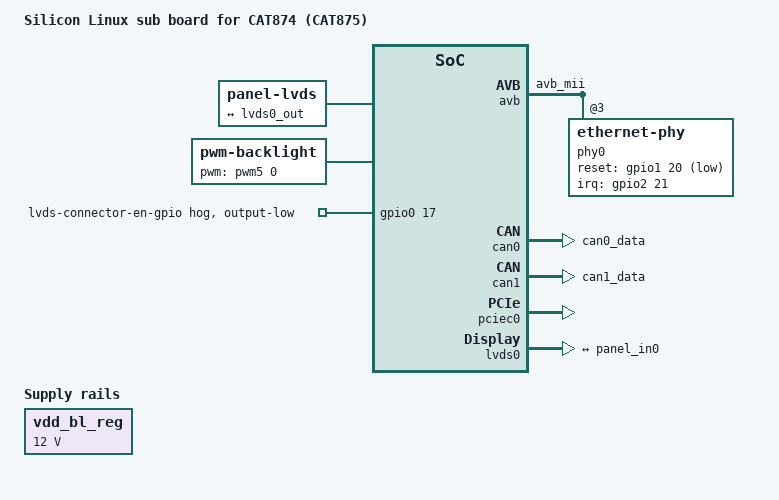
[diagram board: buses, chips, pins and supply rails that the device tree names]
// SPDX-License-Identifier: GPL-2.0
/*
 * Device Tree Source for the Silicon Linux sub board for CAT874 (CAT875)
 *
 * Copyright (C) 2019 Renesas Electronics Corp.
 */

/ {
	model = "Silicon Linux sub board for CAT874 (CAT875)";

	aliases {
		ethernet0 = &avb;
	};

	panel-lvds {
		compatible = "panel-lvds";

		width-mm = <476>;
		height-mm = <268>;

		data-mapping = "vesa-24";

		panel-timing {
                clock-frequency = <51000000>;
                hactive = <1024>;
                vactive = <600>;
                hback-porch = <150>;
                hfront-porch = <150>;
                vback-porch = <17>;
                vfront-porch = <17>;
                hsync-len = <20>;
                vsync-len = <15>;
                hsync-active = <0>;
                vsync-active = <0>;
                de-active = <0>;
                pixelclk-active = <0>;
		};

		ports {
			#address-cells = <1>;
			#size-cells = <0>;
			port@0 {
				reg = <0>;
				panel_in0: endpoint {
					remote-endpoint = <&lvds0_out>;
				};
			};
		};
	};

	vdd_bl_reg: bl-regulator {
		compatible = "regulator-fixed";
		regulator-name = "fixed-12V";
		regulator-min-microvolt = <12000000>;
		regulator-max-microvolt = <12000000>;
		regulator-boot-on;
		regulator-always-on;
	};

	backlight {
		compatible = "pwm-backlight";
		pwms = <&pwm5 0 5000000>;

		brightness-levels = <0 4 8 16 32 64 128 255>;
		default-brightness-level = <7>;
	};
};

&avb {
	pinctrl-0 = <&avb_pins>;
	pinctrl-names = "default";
	renesas,no-ether-link;
	phy-handle = <&phy0>;
	phy-mode = "rgmii";
	status = "okay";

	phy0: ethernet-phy@3 {
        rxc-skew-ps = <1500>;
		reg = <3>;
		interrupt-parent = <&gpio2>;
		interrupts = <21 IRQ_TYPE_LEVEL_LOW>;
		reset-gpios = <&gpio1 20 GPIO_ACTIVE_LOW>;
	};
};

&can0 {
	pinctrl-0 = <&can0_pins>;
	pinctrl-names = "default";
	renesas,can-clock-select = <0x0>;
	status = "okay";
};

&can1 {
	pinctrl-0 = <&can1_pins>;
	pinctrl-names = "default";
	renesas,can-clock-select = <0x0>;
	status = "okay";
};

&pciec0 {
	status = "okay";
};

&pfc {
	avb_pins: avb {
		mux {
			groups = "avb_mii";
			function = "avb";
		};
	};

	can0_pins: can0 {
		groups = "can0_data";
		function = "can0";
	};

	can1_pins: can1 {
		groups = "can1_data";
		function = "can1";
	};
};

&lvds0 {
	status = "okay";

	clocks = <&cpg CPG_MOD 727>, <&extal_clk>;
	clock-names = "fck", "extal";
	swap = <1>;

	ports {
		port@1 {
			lvds0_out: endpoint {
				remote-endpoint = <&panel_in0>;
			};
		};
	};
};

&lvds1 {
	status = "disable";
};

/* GP0_17 is used to select (SEL) output direction for LVDS-IF
 * SEL = L => To LVDS Connector
 * SEL = H => To MIPI-DSI
 *
 * Currently just support LVDS Connector so that set LOW for GP0_17
 */
&gpio0 {
	lvds-connector-en-gpio{
		gpio-hog;
		gpios = <17 GPIO_ACTIVE_HIGH>;
		output-low;
		line-name = "lvds-connector-en-gpio";
	};
};
